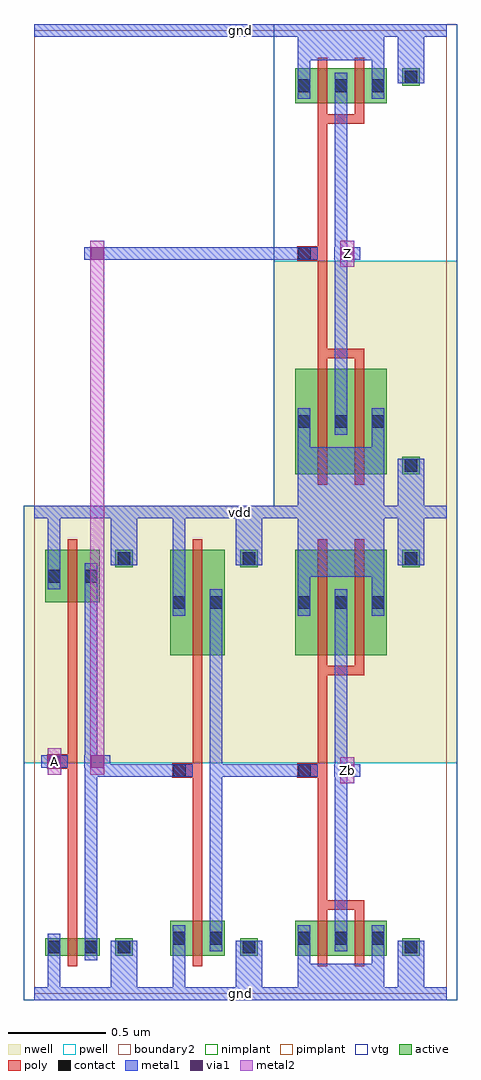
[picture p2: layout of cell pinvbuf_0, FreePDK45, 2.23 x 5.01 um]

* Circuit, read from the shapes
.subckt pinvbuf_0 A Z Zb gnd vdd
M1 pinv_6_1/A A gnd gnd nfet w=0.09u l=0.05u
M2 pinv_7_2/A pinv_6_1/A gnd gnd nfet w=0.18u l=0.05u
M3 Zb pinv_7_2/A gnd gnd nfet w=0.18u l=0.05u m=2
M4 Z pinv_6_1/A gnd gnd nfet w=0.18u l=0.05u m=2
M5 pinv_6_1/A A vdd vdd pfet w=0.27u l=0.05u
M6 pinv_7_2/A pinv_6_1/A vdd vdd pfet w=0.54u l=0.05u
M7 Zb pinv_7_2/A vdd vdd pfet w=0.54u l=0.05u m=2
M8 Z pinv_6_1/A vdd vdd pfet w=0.54u l=0.05u m=2
.ends

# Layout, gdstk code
import gdstk
lib = gdstk.Library(unit=1e-6, precision=5e-10)
def R(c, l, rs):  # rectangles x0, y0, x1, y1
    for r in rs: c.add(gdstk.rectangle(r[:2], r[2:], *l))
def A(c, l, x, y, w, h, nx, ny, dx, dy):  # array of equal rectangles
    R(c, l, [(x+i*dx, y+j*dy, x+i*dx+w, y+j*dy+h) for i in range(nx) for j in range(ny)])
active = (1, 0)
pwell = (2, 0)
nwell = (3, 0)
nimplant = (4, 0)
pimplant = (5, 0)
vtg = (6, 0)
poly = (9, 0)
contact = (10, 0)
metal1 = (11, 0)
via1 = (12, 0)
metal2 = (13, 0)
boundary2 = (239, 0)

contact_11 = lib.new_cell('contact_11')
R(contact_11, active, [(0,0.0225,0.09,0.1125)])
R(contact_11, nwell, [(-0.055,-0.0325,0.145,0.1675)])
R(contact_11, pimplant, [(0,0.0225,0.09,0.1125)])
R(contact_11, contact, [(0.0125,0.035,0.0775,0.1)])
R(contact_11, metal1, [(0.0125,0,0.0775,0.135)])

pmos_m1_w0_270_a_p = lib.new_cell('pmos_m1_w0_270_a_p')
R(pmos_m1_w0_270_a_p, active, [(0,0,0.28,0.27)])
R(pmos_m1_w0_270_a_p, nwell, [(-0.055,-0.055,0.335,0.325)])
R(pmos_m1_w0_270_a_p, pimplant, [(0,0,0.28,0.27)])
R(pmos_m1_w0_270_a_p, vtg, [(-0.055,-0.055,0.335,0.325)])
R(pmos_m1_w0_270_a_p, poly, [(0.115,-0.055,0.165,0.325), (0.115,-0.055,0.165,0.325)])
R(pmos_m1_w0_270_a_p, metal1, [(0.0125,0.0675,0.0775,0.2025), (0.2025,0.0675,0.2675,0.2025)])
R(pmos_m1_w0_270_a_p, boundary2, [(-0.055,-0.055,0.335,0.325)])
pmos_m1_w0_270_a_p.add(gdstk.Reference(contact_11, (0,0.0675)))
pmos_m1_w0_270_a_p.add(gdstk.Reference(contact_11, (0.19,0.0675)))
pmos_m1_w0_270_a_p.add(gdstk.Label('G', (0.14,0.135), layer=9, texttype=0))
pmos_m1_w0_270_a_p.add(gdstk.Label('S', (0.045,0.135), layer=11, texttype=0))
pmos_m1_w0_270_a_p.add(gdstk.Label('D', (0.235,0.135), layer=11, texttype=0))

contact_16 = lib.new_cell('contact_16')
R(contact_16, active, [(0,0.0225,0.09,0.1125)])
R(contact_16, pwell, [(-0.055,-0.0325,0.145,0.1675)])
R(contact_16, nimplant, [(0,0.0225,0.09,0.1125)])
R(contact_16, contact, [(0.0125,0.035,0.0775,0.1)])
R(contact_16, metal1, [(0.0125,0,0.0775,0.135)])

nmos_m1_w0_090_a_p = lib.new_cell('nmos_m1_w0_090_a_p')
R(nmos_m1_w0_090_a_p, active, [(0,0,0.28,0.09)])
R(nmos_m1_w0_090_a_p, pwell, [(-0.055,-0.055,0.335,0.145)])
R(nmos_m1_w0_090_a_p, nimplant, [(0,0,0.28,0.09)])
R(nmos_m1_w0_090_a_p, vtg, [(-0.055,-0.055,0.335,0.145)])
R(nmos_m1_w0_090_a_p, poly, [(0.115,-0.055,0.165,0.145), (0.115,-0.055,0.165,0.145)])
R(nmos_m1_w0_090_a_p, metal1, [(0.0125,-0.0225,0.0775,0.1125), (0.2025,-0.0225,0.2675,0.1125)])
R(nmos_m1_w0_090_a_p, boundary2, [(-0.055,-0.055,0.335,0.145)])
nmos_m1_w0_090_a_p.add(gdstk.Reference(contact_16, (0,-0.0225)))
nmos_m1_w0_090_a_p.add(gdstk.Reference(contact_16, (0.19,-0.0225)))
nmos_m1_w0_090_a_p.add(gdstk.Label('G', (0.14,0.045), layer=9, texttype=0))
nmos_m1_w0_090_a_p.add(gdstk.Label('S', (0.045,0.045), layer=11, texttype=0))
nmos_m1_w0_090_a_p.add(gdstk.Label('D', (0.235,0.045), layer=11, texttype=0))

contact_13 = lib.new_cell('contact_13')
R(contact_13, active, [(0.0225,0,0.1125,0.09)])
R(contact_13, nwell, [(-0.0325,-0.055,0.1675,0.145)])
R(contact_13, nimplant, [(0.0225,0,0.1125,0.09)])
R(contact_13, contact, [(0.035,0.0125,0.1,0.0775)])
R(contact_13, metal1, [(0,0.0125,0.135,0.0775)])

contact_17 = lib.new_cell('contact_17')
R(contact_17, active, [(0.0225,0,0.1125,0.09)])
R(contact_17, pwell, [(-0.0325,-0.055,0.1675,0.145)])
R(contact_17, pimplant, [(0.0225,0,0.1125,0.09)])
R(contact_17, contact, [(0.035,0.0125,0.1,0.0775)])
R(contact_17, metal1, [(0,0.0125,0.135,0.0775)])

contact_12 = lib.new_cell('contact_12')
R(contact_12, poly, [(0.03,0,0.105,0.075)])
R(contact_12, contact, [(0.035,0.005,0.1,0.07)])
R(contact_12, metal1, [(0,0.005,0.135,0.07)])

pinv_5 = lib.new_cell('pinv_5')
R(pinv_5, pwell, [(-0.055,-0.0325,0.6975,1.1875)])
R(pinv_5, nwell, [(-0.055,1.1875,0.6975,2.5075)])
R(pinv_5, vtg, [(-0.055,-0.0325,0.6975,1.1875), (-0.055,1.1875,0.6975,2.5075)])
R(pinv_5, poly, [(0.17,0.34,0.22,1.955), (0.1025,1.155,0.17,1.23)])
R(pinv_5, metal1, [(0,-0.0325,0.6425,0.0325), (0.0675,-0.0325,0.1325,0.1725), (0.3925,0,0.5275,0.24), (0.2575,0.1725,0.3225,2.2125), (0.035,1.16,0.17,1.225), (0.29,1.16,0.355,1.225), (0.0675,2.0775,0.1325,2.5075), (0.3925,2.235,0.5275,2.475), (0,2.4425,0.6425,2.5075)])
R(pinv_5, boundary2, [(0,0,0.6425,2.475)])
pinv_5.add(gdstk.Reference(pmos_m1_w0_270_a_p, (0.055,2.01)))
pinv_5.add(gdstk.Reference(nmos_m1_w0_090_a_p, (0.055,0.195)))
pinv_5.add(gdstk.Reference(contact_13, (0.3925,2.19)))
pinv_5.add(gdstk.Reference(contact_17, (0.3925,0.195)))
pinv_5.add(gdstk.Reference(contact_12, (0.035,1.155)))
pinv_5.add(gdstk.Label('gnd', (0.321,0), layer=11, texttype=0))
pinv_5.add(gdstk.Label('vdd', (0.321,2.475), layer=11, texttype=0))
pinv_5.add(gdstk.Label('A', (0.1025,1.1925), layer=11, texttype=0))
pinv_5.add(gdstk.Label('Z', (0.3225,1.1925), layer=11, texttype=0))

pmos_m1_w0_540_a_p = lib.new_cell('pmos_m1_w0_540_a_p')
R(pmos_m1_w0_540_a_p, active, [(0,0,0.28,0.54)])
R(pmos_m1_w0_540_a_p, nwell, [(-0.055,-0.055,0.335,0.595)])
R(pmos_m1_w0_540_a_p, pimplant, [(0,0,0.28,0.54)])
R(pmos_m1_w0_540_a_p, vtg, [(-0.055,-0.055,0.335,0.595)])
R(pmos_m1_w0_540_a_p, poly, [(0.115,-0.055,0.165,0.595), (0.115,-0.055,0.165,0.595)])
R(pmos_m1_w0_540_a_p, metal1, [(0.0125,0.2025,0.0775,0.3375), (0.2025,0.2025,0.2675,0.3375)])
R(pmos_m1_w0_540_a_p, boundary2, [(-0.055,-0.055,0.335,0.595)])
pmos_m1_w0_540_a_p.add(gdstk.Reference(contact_11, (0,0.2025)))
pmos_m1_w0_540_a_p.add(gdstk.Reference(contact_11, (0.19,0.2025)))
pmos_m1_w0_540_a_p.add(gdstk.Label('G', (0.14,0.27), layer=9, texttype=0))
pmos_m1_w0_540_a_p.add(gdstk.Label('S', (0.045,0.27), layer=11, texttype=0))
pmos_m1_w0_540_a_p.add(gdstk.Label('D', (0.235,0.27), layer=11, texttype=0))

nmos_m1_w0_180_a_p = lib.new_cell('nmos_m1_w0_180_a_p')
R(nmos_m1_w0_180_a_p, active, [(0,0,0.28,0.18)])
R(nmos_m1_w0_180_a_p, pwell, [(-0.055,-0.055,0.335,0.235)])
R(nmos_m1_w0_180_a_p, nimplant, [(0,0,0.28,0.18)])
R(nmos_m1_w0_180_a_p, vtg, [(-0.055,-0.055,0.335,0.235)])
R(nmos_m1_w0_180_a_p, poly, [(0.115,-0.055,0.165,0.235), (0.115,-0.055,0.165,0.235)])
R(nmos_m1_w0_180_a_p, metal1, [(0.0125,0.0225,0.0775,0.1575), (0.2025,0.0225,0.2675,0.1575)])
R(nmos_m1_w0_180_a_p, boundary2, [(-0.055,-0.055,0.335,0.235)])
nmos_m1_w0_180_a_p.add(gdstk.Reference(contact_16, (0,0.0225)))
nmos_m1_w0_180_a_p.add(gdstk.Reference(contact_16, (0.19,0.0225)))
nmos_m1_w0_180_a_p.add(gdstk.Label('G', (0.14,0.09), layer=9, texttype=0))
nmos_m1_w0_180_a_p.add(gdstk.Label('S', (0.045,0.09), layer=11, texttype=0))
nmos_m1_w0_180_a_p.add(gdstk.Label('D', (0.235,0.09), layer=11, texttype=0))

pinv_6 = lib.new_cell('pinv_6')
R(pinv_6, pwell, [(-0.055,-0.0325,0.6975,1.1875)])
R(pinv_6, nwell, [(-0.055,1.1875,0.6975,2.5075)])
R(pinv_6, vtg, [(-0.055,-0.0325,0.6975,1.1875), (-0.055,1.1875,0.6975,2.5075)])
R(pinv_6, poly, [(0.17,0.43,0.22,1.685), (0.1025,1.11,0.17,1.185)])
R(pinv_6, metal1, [(0,-0.0325,0.6425,0.0325), (0.0675,-0.0325,0.1325,0.2175), (0.3925,0,0.5275,0.24), (0.2575,0.2175,0.3225,2.0775), (0.035,1.115,0.17,1.18), (0.29,1.115,0.355,1.18), (0.0675,1.9425,0.1325,2.5075), (0.3925,2.235,0.5275,2.475), (0,2.4425,0.6425,2.5075)])
R(pinv_6, boundary2, [(0,0,0.6425,2.475)])
pinv_6.add(gdstk.Reference(pmos_m1_w0_540_a_p, (0.055,1.74)))
pinv_6.add(gdstk.Reference(nmos_m1_w0_180_a_p, (0.055,0.195)))
pinv_6.add(gdstk.Reference(contact_13, (0.3925,2.19)))
pinv_6.add(gdstk.Reference(contact_17, (0.3925,0.195)))
pinv_6.add(gdstk.Reference(contact_12, (0.035,1.11)))
pinv_6.add(gdstk.Label('gnd', (0.321,0), layer=11, texttype=0))
pinv_6.add(gdstk.Label('vdd', (0.321,2.475), layer=11, texttype=0))
pinv_6.add(gdstk.Label('A', (0.1025,1.1475), layer=11, texttype=0))
pinv_6.add(gdstk.Label('Z', (0.3225,1.1475), layer=11, texttype=0))

pmos_m2_w0_540_a_p = lib.new_cell('pmos_m2_w0_540_a_p')
R(pmos_m2_w0_540_a_p, active, [(0,0,0.47,0.54)])
R(pmos_m2_w0_540_a_p, nwell, [(-0.055,-0.055,0.525,0.595)])
R(pmos_m2_w0_540_a_p, pimplant, [(0,0,0.47,0.54)])
R(pmos_m2_w0_540_a_p, vtg, [(-0.055,-0.055,0.525,0.595)])
R(pmos_m2_w0_540_a_p, poly, [(0.115,-0.105,0.355,-0.055), (0.115,-0.055,0.165,0.595), (0.305,-0.055,0.355,0.595)])
R(pmos_m2_w0_540_a_p, metal1, [(0.2025,0.2025,0.2675,0.3375), (0.0125,0.27,0.0775,0.435), (0.3925,0.27,0.4575,0.435), (0.0125,0.4025,0.4575,0.4675)])
R(pmos_m2_w0_540_a_p, boundary2, [(-0.055,-0.055,0.525,0.595)])
pmos_m2_w0_540_a_p.add(gdstk.Reference(contact_11, (0,0.2025)))
pmos_m2_w0_540_a_p.add(gdstk.Reference(contact_11, (0.38,0.2025)))
pmos_m2_w0_540_a_p.add(gdstk.Reference(contact_11, (0.19,0.2025)))
pmos_m2_w0_540_a_p.add(gdstk.Label('G', (0.235,-0.08), layer=9, texttype=0))
pmos_m2_w0_540_a_p.add(gdstk.Label('S', (0.235,0.435), layer=11, texttype=0))
pmos_m2_w0_540_a_p.add(gdstk.Label('D', (0.235,0.27), layer=11, texttype=0))

nmos_m2_w0_180_a_p = lib.new_cell('nmos_m2_w0_180_a_p')
R(nmos_m2_w0_180_a_p, active, [(0,0,0.47,0.18)])
R(nmos_m2_w0_180_a_p, pwell, [(-0.055,-0.055,0.525,0.235)])
R(nmos_m2_w0_180_a_p, nimplant, [(0,0,0.47,0.18)])
R(nmos_m2_w0_180_a_p, vtg, [(-0.055,-0.055,0.525,0.235)])
R(nmos_m2_w0_180_a_p, poly, [(0.115,-0.055,0.165,0.235), (0.305,-0.055,0.355,0.235), (0.115,0.235,0.355,0.285)])
R(nmos_m2_w0_180_a_p, metal1, [(0.0125,-0.1075,0.4575,-0.0425), (0.0125,-0.075,0.0775,0.09), (0.3925,-0.075,0.4575,0.09), (0.2025,0.0225,0.2675,0.1575)])
R(nmos_m2_w0_180_a_p, boundary2, [(-0.055,-0.075,0.525,0.235)])
nmos_m2_w0_180_a_p.add(gdstk.Reference(contact_16, (0,0.0225)))
nmos_m2_w0_180_a_p.add(gdstk.Reference(contact_16, (0.38,0.0225)))
nmos_m2_w0_180_a_p.add(gdstk.Reference(contact_16, (0.19,0.0225)))
nmos_m2_w0_180_a_p.add(gdstk.Label('G', (0.235,0.26), layer=9, texttype=0))
nmos_m2_w0_180_a_p.add(gdstk.Label('S', (0.235,-0.075), layer=11, texttype=0))
nmos_m2_w0_180_a_p.add(gdstk.Label('D', (0.235,0.09), layer=11, texttype=0))

pinv_7 = lib.new_cell('pinv_7')
R(pinv_7, pwell, [(-0.055,-0.0325,0.8875,1.1875)])
R(pinv_7, nwell, [(-0.055,1.1875,0.8875,2.5075)])
R(pinv_7, vtg, [(-0.055,-0.0325,0.8875,1.1875), (-0.055,1.1875,0.8875,2.5075)])
R(pinv_7, poly, [(0.17,0.48,0.22,1.635), (0.1025,1.11,0.17,1.185)])
R(pinv_7, metal1, [(0,-0.0325,0.8325,0.0325), (0.0675,-0.0325,0.5125,0.0875), (0.5825,0,0.7175,0.24), (0.2575,0.2175,0.3225,2.0775), (0.035,1.115,0.17,1.18), (0.29,1.115,0.355,1.18), (0.0675,2.1425,0.5125,2.5075), (0.5825,2.235,0.7175,2.475), (0,2.4425,0.8325,2.5075)])
R(pinv_7, boundary2, [(0,0,0.8325,2.475)])
pinv_7.add(gdstk.Reference(pmos_m2_w0_540_a_p, (0.055,1.74)))
pinv_7.add(gdstk.Reference(nmos_m2_w0_180_a_p, (0.055,0.195)))
pinv_7.add(gdstk.Reference(contact_13, (0.5825,2.19)))
pinv_7.add(gdstk.Reference(contact_17, (0.5825,0.195)))
pinv_7.add(gdstk.Reference(contact_12, (0.035,1.11)))
pinv_7.add(gdstk.Label('gnd', (0.416,0), layer=11, texttype=0))
pinv_7.add(gdstk.Label('vdd', (0.416,2.475), layer=11, texttype=0))
pinv_7.add(gdstk.Label('A', (0.1025,1.1475), layer=11, texttype=0))
pinv_7.add(gdstk.Label('Z', (0.3225,1.1475), layer=11, texttype=0))

contact_19 = lib.new_cell('contact_19')
R(contact_19, metal1, [(0,0.035,0.135,0.1)])
R(contact_19, via1, [(0.035,0.035,0.1,0.1)])
R(contact_19, metal2, [(0.0325,0,0.1025,0.135)])

pinvbuf_0 = lib.new_cell('pinvbuf_0')
A(pinvbuf_0, metal1, 0, -0.0325, 2.1175, 0.065, 1, 3, 0, 2.475)
R(pinvbuf_0, metal1, [(0.29,1.115,0.355,1.18), (0.3225,1.115,0.745,1.18), (0.965,1.115,1.3875,1.18), (0.29,1.1475,0.355,1.1925), (0.3225,3.77,1.3875,3.835)])
R(pinvbuf_0, metal2, [(1.5725,1.1125,1.6425,1.1825), (0.0675,1.1575,0.1375,1.2275), (0.2875,1.1925,0.3575,3.8025), (1.5725,3.7675,1.6425,3.8375)])
R(pinvbuf_0, boundary2, [(0,0,2.1175,4.95)])
pinvbuf_0.add(gdstk.Reference(pinv_5, (0,0)))
pinvbuf_0.add(gdstk.Reference(pinv_6, (0.6425,0)))
pinvbuf_0.add(gdstk.Reference(pinv_7, (1.285,0)))
pinvbuf_0.add(gdstk.Reference(pinv_7, (1.285,4.95), x_reflection=True))
pinvbuf_0.add(gdstk.Reference(contact_19, (0.255,3.735)))
pinvbuf_0.add(gdstk.Reference(contact_19, (0.255,1.125)))
pinvbuf_0.add(gdstk.Reference(contact_19, (1.54,3.735)))
pinvbuf_0.add(gdstk.Reference(contact_19, (1.54,1.08)))
pinvbuf_0.add(gdstk.Reference(contact_19, (0.035,1.125)))
pinvbuf_0.add(gdstk.Label('vdd', (1.059,2.475), layer=11, texttype=0))
pinvbuf_0.add(gdstk.Label('gnd', (1.059,4.95), layer=11, texttype=0))
pinvbuf_0.add(gdstk.Label('gnd', (1.059,0), layer=11, texttype=0))
pinvbuf_0.add(gdstk.Label('Z', (1.6075,3.8025), layer=13, texttype=0))
pinvbuf_0.add(gdstk.Label('Zb', (1.6075,1.1475), layer=13, texttype=0))
pinvbuf_0.add(gdstk.Label('A', (0.1025,1.1925), layer=13, texttype=0))

lib.write_gds('pinvbuf_0.gds')
